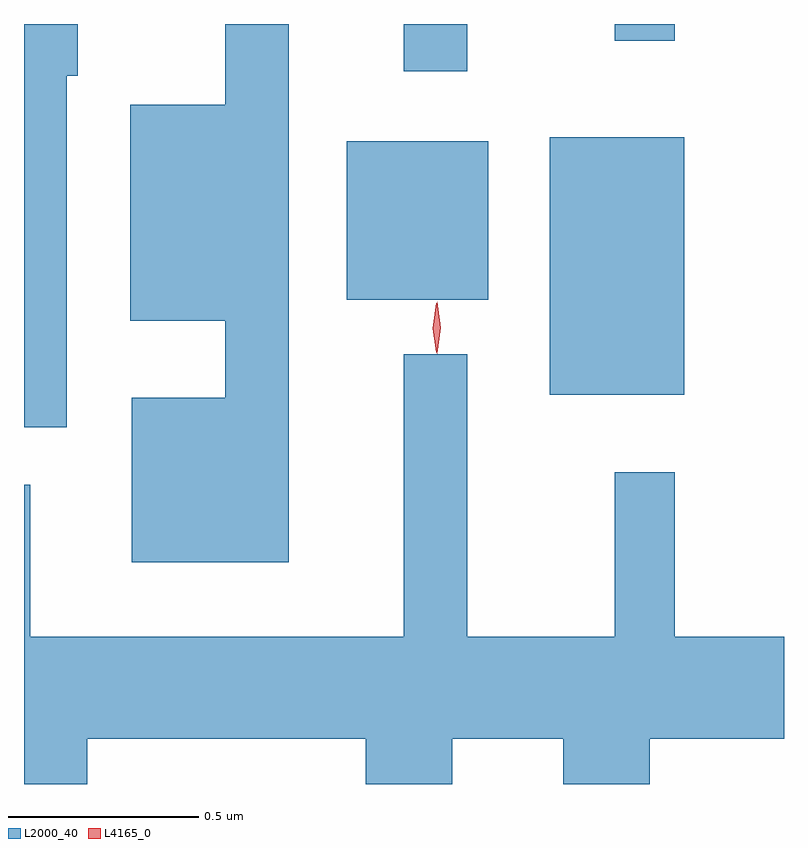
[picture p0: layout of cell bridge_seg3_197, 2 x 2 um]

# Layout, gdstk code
import gdstk
lib = gdstk.Library(unit=1e-6, precision=1e-09)
def R(c, l, rs):  # rectangles x0, y0, x1, y1
    for r in rs: c.add(gdstk.rectangle(r[:2], r[2:], *l))
def P(c, l, *ps):  # polygons
    for p in ps: c.add(gdstk.Polygon(p, *l))
L2000_40 = (2000, 40)
L4165_0 = (4165, 0)

bridge_seg3_197 = lib.new_cell('bridge_seg3_197')
R(bridge_seg3_197, L2000_40, [(872.776,1142.461,873.129,1143.139), (872.241,1142.711,872.614,1143.129), (872.391,1143.313,872.559,1143.437), (872.946,1143.393,873.104,1143.437)])
P(bridge_seg3_197, L2000_40, [(872.089,1143.437),(871.921,1143.437),(871.921,1143.224),(871.671,1143.224),(871.671,1142.656),(871.921,1142.656),(871.921,1142.454),(871.676,1142.454),(871.676,1142.021),(872.089,1142.021)],
  [(871.504,1143.301),(871.534,1143.301),(871.534,1143.437),(871.392,1143.437),(871.392,1142.376),(871.504,1142.376)],
  [(871.559,1141.556),(872.291,1141.556),(872.291,1141.437),(872.519,1141.437),(872.519,1141.556),(872.811,1141.556),(872.811,1141.437),(873.039,1141.437),(873.039,1141.556),(873.392,1141.556),(873.392,1141.824),(873.104,1141.824),(873.104,1142.258),(872.946,1142.258),(872.946,1141.824),(872.559,1141.824),(872.559,1142.568),(872.391,1142.568),(872.391,1141.824),(871.409,1141.824),(871.409,1142.224),(871.392,1142.224),(871.392,1141.437),(871.559,1141.437)])
P(bridge_seg3_197, L4165_0, [(872.479,1142.569),(872.479,1142.57),(872.47,1142.638),(872.479,1142.706),(872.48,1142.706),(872.48,1142.706),(872.489,1142.638),(872.48,1142.57)],
  [(872.477,1142.572),(872.477,1142.573),(872.467,1142.637),(872.477,1142.702),(872.477,1142.702),(872.478,1142.702),(872.487,1142.637),(872.478,1142.573)])

lib.write_gds('bridge_seg3_197.gds')
